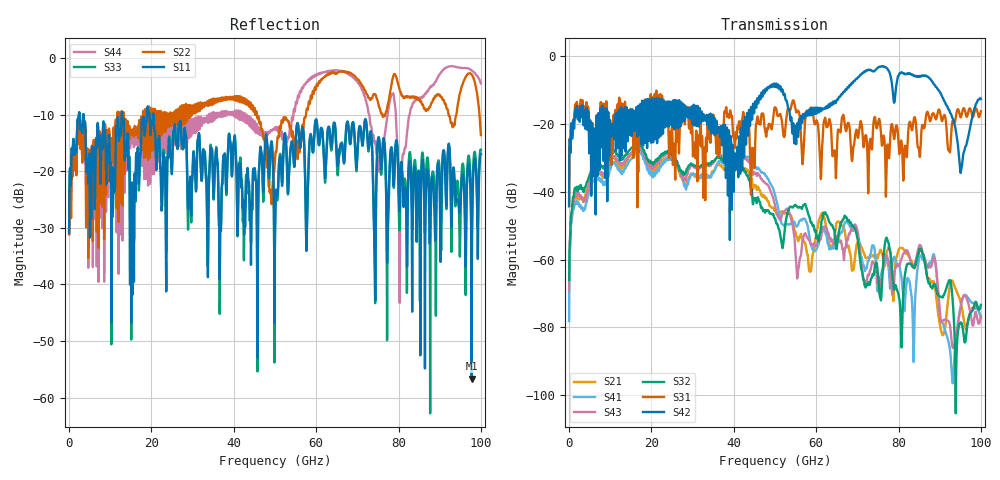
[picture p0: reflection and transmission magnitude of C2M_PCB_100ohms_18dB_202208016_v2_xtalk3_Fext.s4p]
! Info: Touchstone file created by Circ.  Input file=Intel_C2M_200G_6p0in_202208016_staggered.circ
# Hz S RI R 50
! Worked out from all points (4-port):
!   10000 points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, 10 MHz to 100 GHz, reference 50 ohm
!   strongest paths, dB at 10 MHz, 25.01 GHz, 50.01 GHz, 75.01 GHz, 100 GHz:
!     S42: -44.2, -16.8, -9.0, -3.5, -12.7
!     S31: -44.3, -21.0, -15.1, -19.8, -16.2
!     S32: -66.0, -29.3, -47.8, -64.4, -73.3
!     S43: -69.1, -29.5, -44.0, -68.3, -76.8
!     S41: -78.1, -30.4, -40.8, -67.8, -76.8
!     S21: -62.4, -30.4, -45.4, -59.1, -77.2
!   lowest |S11| = -56.6 dB at 97.76 GHz (marker M1), VSWR 1.00, Z = 50.1 - j0.0534 ohm
!   |S11| at or under -10 dB: 3.502 GHz to 12.76 GHz (9.255 GHz wide, 114 % of centre); 12.9 GHz to 18.92 GHz (6.018 GHz wide, 37.8 % of centre); 20.51 GHz to end of sweep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
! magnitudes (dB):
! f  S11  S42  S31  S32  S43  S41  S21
! 10 MHz  -30.8  -44.2  -44.3  -66.0  -69.1  -78.1  -62.4
! 1.4 GHz  -16.6  -16.5  -15.0  -38.9  -41.1  -43.3  -41.5
! 16.88 GHz  -21.2  -16.2  -25.6  -25.3  -26.4  -27.7  -26.7
! 65.99 GHz  -15.1  -11.5  -21.8  -49.5  -54.4  -51.9  -49.4
! 80.37 GHz  -21.6  -5.0  -26.8  -73.8  -61.2  -62.8  -56.6
! 97.76 GHz  -56.6  -18.6  -17.0  -75.4  -78.0  -72.6  -74.5
! 100 GHz  -16.9  -12.7  -16.2  -73.3  -76.8  -76.8  -77.2
